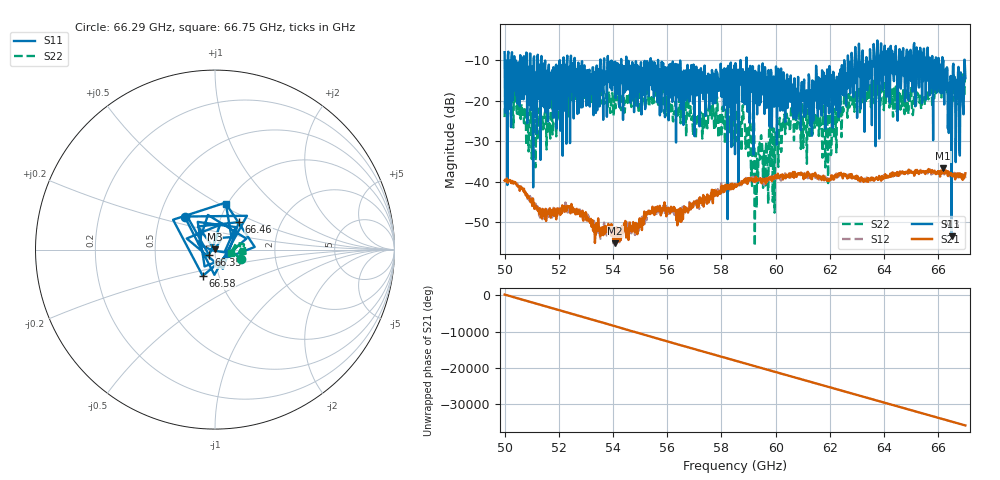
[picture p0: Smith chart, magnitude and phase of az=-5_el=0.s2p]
!Created with skrf (http://scikit-rf.org).
# GHz S RI R 50.0
!freq ReS11 ImS11 ReS21 ImS21 ReS12 ImS12 ReS22 ImS22
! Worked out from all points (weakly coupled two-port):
!   1001 points, 50 GHz to 67 GHz, reference 50 ohm
!   highest |S21| = -36.72 dB at 66.18 GHz (marker M1); lowest = -55.2 dB at 54.08 GHz (marker M2)
!   lowest |S11| = -53.5 dB at 66.49 GHz (marker M3), VSWR 1.00, Z = 49.8 + j0.11 ohm
!   |S11| at or under -10 dB: 52.59 GHz to 53.53 GHz (948.6 MHz wide, 1.79 % of centre); 55.66 GHz to 58.7 GHz (3.042 GHz wide, 5.32 % of centre); 58.93 GHz to 62.53 GHz (3.6 GHz wide, 5.93 % of centre) (the widest 3 of 63)
!   |S22| runs from -55.9 to -13.2 dB; largest |S21 - S12| = 0.0024
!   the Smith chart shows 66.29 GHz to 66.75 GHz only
!   S11 on the Smith chart (normalised r, x): 66.29 GHz: 0.67, +0.26; 66.35 GHz: 0.93, -0.06; 66.46 GHz: 1.24, +0.39; 66.58 GHz: 0.84, -0.25; 66.75 GHz: 0.98, +0.54
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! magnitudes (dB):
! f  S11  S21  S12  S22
! 50 GHz  -8.0  -39.7  -39.8  -24.0
! 50.15 GHz  -22.1  -39.7  -40.1  -20.5
! 51.07 GHz  -9.6  -45.7  -45.5  -25.9
! 52.84 GHz  -11.8  -48.2  -48.7  -19.8
! 54.08 GHz  -10.4  -55.2  -53.7  -20.4
! 55.68 GHz  -13.3  -47.1  -47.2  -21.0
! 58.5 GHz  -33.2  -40.7  -40.8  -23.7
! 59.11 GHz  -13.0  -39.6  -38.9  -36.5
! 59.32 GHz  -23.4  -39.7  -39.8  -34.3
! 60.34 GHz  -15.0  -38.9  -38.2  -25.0
! 61.34 GHz  -28.6  -39.4  -38.4  -26.6
! 62 GHz  -12.2  -39.3  -39.2  -23.8
! 62.61 GHz  -16.5  -38.6  -38.4  -19.5
! 64.18 GHz  -11.5  -38.8  -38.9  -17.6
! 66.18 GHz  -10.0  -36.7  -37.4  -17.4
! 66.29 GHz  -12.1  -37.7  -37.8  -16.2
! 66.35 GHz  -26.9  -38.6  -37.8  -15.4
! 66.46 GHz  -13.9  -37.8  -37.7  -17.3
! 66.49 GHz  -53.5  -38.0  -37.6  -15.3
! 66.58 GHz  -15.8  -38.4  -38.1  -15.8
! 66.75 GHz  -11.6  -38.3  -39.2  -20.9
! 67 GHz  -14.4  -37.9  -39.1  -14.3
